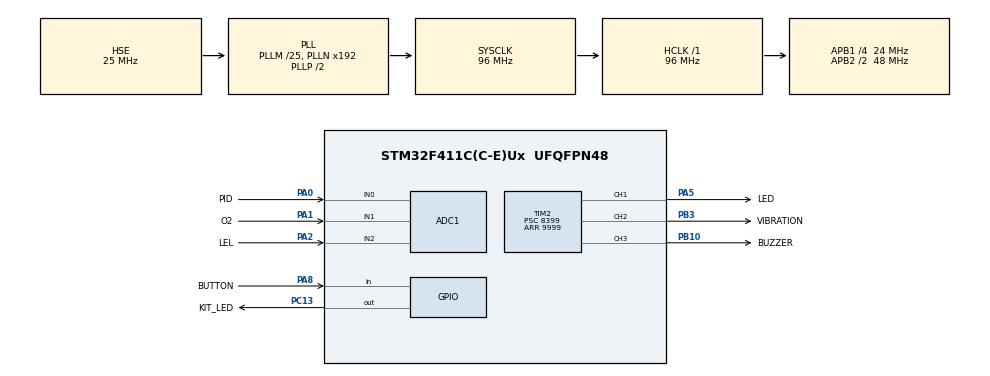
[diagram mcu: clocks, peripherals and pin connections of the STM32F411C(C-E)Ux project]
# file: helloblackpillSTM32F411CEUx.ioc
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ADC1.Channel-0\#ChannelRegularConversion=ADC_CHANNEL_0
ADC1.NbrOfConversionFlag=1
ADC1.Rank-0\#ChannelRegularConversion=1
ADC1.SamplingTime-0\#ChannelRegularConversion=ADC_SAMPLETIME_3CYCLES
ADC1.ScanConvMode=ENABLE
ADC1.master=1
Mcu.Family=STM32F4
Mcu.Name=STM32F411C(C-E)Ux
Mcu.Package=UFQFPN48
NVIC.PriorityGroup=NVIC_PRIORITYGROUP_4
NVIC.TIM2_IRQn=true\:0\:0\:false\:false\:true\:true\:true\:true
NVIC.TIM4_IRQn=true\:0\:0\:false\:false\:true\:true\:true\:true
PA0-WKUP.GPIO_Label=PID
PA0-WKUP.Signal=ADCx_IN0
PA1.GPIO_Label=O2
PA1.Signal=ADCx_IN1
PA13.Mode=Serial_Wire
PA13.Signal=SYS_JTMS-SWDIO
PA14.Mode=Serial_Wire
PA14.Signal=SYS_JTCK-SWCLK
PA2.GPIO_Label=LEL
PA2.Signal=ADCx_IN2
PA5.GPIO_Label=LED
PA5.Signal=S_TIM2_CH1_ETR
PA8.GPIO_Label=BUTTON
PA8.Signal=GPIO_Input
PB10.GPIO_Label=BUZZER
PB10.Signal=S_TIM2_CH3
PB3.GPIO_Label=VIBRATION
PB3.Signal=S_TIM2_CH2
PC13-ANTI_TAMP.GPIO_Label=KIT_LED
PC13-ANTI_TAMP.Signal=GPIO_Output
PC14-OSC32_IN.Mode=LSE-External-Oscillator
PC14-OSC32_IN.Signal=RCC_OSC32_IN
PC15-OSC32_OUT.Mode=LSE-External-Oscillator
PC15-OSC32_OUT.Signal=RCC_OSC32_OUT
PH0\ -\ OSC_IN.Mode=HSE-External-Oscillator
PH0\ -\ OSC_IN.Signal=RCC_OSC_IN
PH1\ -\ OSC_OUT.Mode=HSE-External-Oscillator
PH1\ -\ OSC_OUT.Signal=RCC_OSC_OUT
ProjectManager.HeapSize=0x200
ProjectManager.StackSize=0x400
ProjectManager.TargetToolchain=Makefile
RCC.48MHZClocksFreq_Value=48000000
RCC.AHBFreq_Value=96000000
RCC.APB1CLKDivider=RCC_HCLK_DIV4
RCC.APB1Freq_Value=24000000
RCC.APB1TimFreq_Value=48000000
RCC.APB2CLKDivider=RCC_HCLK_DIV2
RCC.APB2Freq_Value=48000000
RCC.APB2TimFreq_Value=96000000
RCC.CortexFreq_Value=96000000
RCC.HCLKFreq_Value=96000000
RCC.HSE_VALUE=25000000
RCC.HSI_VALUE=16000000
RCC.PLLM=25
RCC.PLLSourceVirtual=RCC_PLLSOURCE_HSE
RCC.SYSCLKFreq_VALUE=96000000
RCC.SYSCLKSource=RCC_SYSCLKSOURCE_PLLCLK
RCC.VCOOutputFreq_Value=192000000
SH.ADCx_IN0.0=ADC1_IN0,IN0
SH.ADCx_IN1.0=ADC1_IN1,IN1
SH.ADCx_IN2.0=ADC1_IN2,IN2
SH.S_TIM2_CH1_ETR.0=TIM2_CH1,PWM Generation1 CH1
SH.S_TIM2_CH2.0=TIM2_CH2,PWM Generation2 CH2
SH.S_TIM2_CH3.0=TIM2_CH3,PWM Generation3 CH3
TIM2.Channel-PWM\ Generation1\ CH1=TIM_CHANNEL_1
TIM2.Channel-PWM\ Generation2\ CH2=TIM_CHANNEL_2
TIM2.Channel-PWM\ Generation3\ CH3=TIM_CHANNEL_3
TIM2.Period=9999
TIM2.Prescaler=8399
TIM4.Period=1800
TIM4.Prescaler=7200
VP_TIM2_VS_ClockSourceINT.Mode=Internal
VP_TIM4_VS_ClockSourceINT.Mode=Internal
board=custom

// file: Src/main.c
/* USER CODE BEGIN Header */
/**
  ******************************************************************************
  * @file           : main.c
  * @brief          : Main program body
  ******************************************************************************
  * @attention
  *
  * Copyright (c) 2022 STMicroelectronics.
  * All rights reserved.
  *
  * This software is licensed under terms that can be found in the LICENSE file
  * in the root directory of this software component.
  * If no LICENSE file comes with this software, it is provided AS-IS.
  *
  ******************************************************************************
  */
/* USER CODE END Header */
#include "main.h"
#include <stdio.h>
#include <math.h>
#include <stdbool.h>
#include <stdarg.h>
#include <string.h>

/* USER CODE BEGIN PTD */
/* Estados do sistema */
typedef enum {
  STATE_IDLE,
  STATE_MONITORING,
  STATE_MENU,
  STATE_ALARM,
  STATE_INFO_1,
  STATE_INFO_2,
  STATE_CALIBRATION,
  STATE_ERROR
} SystemState;

SystemState currentState = STATE_IDLE;
/* USER CODE END PTD */

/* USER CODE BEGIN PD */
#define LED_ALARM_PIN GPIO_PIN_5
#define BUZZER_PIN GPIO_PIN_6
#define VIBRATION_PIN GPIO_PIN_7
#define BUTTON_FALL_PIN GPIO_PIN_8 // Botão para simular "homem caído"

/* USER CODE END PD */

ADC_HandleTypeDef hadc1;

TIM_HandleTypeDef htim2;
TIM_HandleTypeDef htim4;

/* USER CODE BEGIN PV */
float sensor_readings[3]; // Leituras dos potenciômetros simulando sensores
bool man_down_detected = false;
uint32_t inactivity_timer = 0;
float toxic_exposure_accumulated = 0.0f;
bool alarm_1 = false;
bool alarm_2 = false;
bool alarm_3 = false;
bool alarm_4 = false;

const float O2_MIN = 19.5;
const float O2_MAX = 23.5;
const float LEL_THRESHOLD = 10.0;
const float TOXIC_THRESHOLD = 20.0;
const float O2_ENV = 20.9;
/* USER CODE END PV */

void SystemClock_Config(void);
static void MX_GPIO_Init(void);
static void MX_ADC1_Init(void);
static void MX_TIM2_Init(void);
static void MX_TIM4_Init(void);

/* USER CODE BEGIN 0 */
bool CheckExplosionRisk(float lel);
bool CheckOxygenLevels(float o2);
bool CheckToxicGases(float toxic);
float CalculateExplosionRisk(float lel);
float CalculateOxygenDeficiency(float o2);
float CalculateToxicExposure(float concentration);
float CalculateCME(float lel, float o2);
float CorrectedTemperature(float reading, float temp);
float Read_ADC(uint32_t channel);
void HAL_TIM_PeriodElapsedCallback(TIM_HandleTypeDef *htim);
void PrintTerminal (const char* format, ...);
void MenuNavigation(void);
void StateMachine(void);
/* USER CODE END 0 */

int main(void)
{

  /* MCU Configuration--------------------------------------------------------*/

  /* Reset of all peripherals, Initializes the Flash interface and the Systick. */
  HAL_Init();

  /* Configure the system clock */
  SystemClock_Config();

  /* Initialize all configured peripherals */
  MX_GPIO_Init();
  MX_ADC1_Init();
  MX_TIM2_Init();
  MX_TIM4_Init();
  /* USER CODE BEGIN 2 */
  HAL_TIM_Base_Start_IT(&htim4);
  HAL_TIM_PWM_Start(&htim2, TIM_CHANNEL_1);
  HAL_TIM_PWM_Start(&htim2, TIM_CHANNEL_2);
  HAL_TIM_PWM_Start(&htim2, TIM_CHANNEL_3);
  PrintTerminal("Sistema Inicial - Aguardando...");
  /* USER CODE END 2 */
  /* Infinite loop */
  while (1)
  {
    StateMachine();
    HAL_Delay(100);

    // Leitura dos sensores simulados
    sensor_readings[0] = Read_ADC(0);
    sensor_readings[1] = Read_ADC(1);
    sensor_readings[2] = Read_ADC(2);

    if(HAL_GPIO_ReadPin(BUTTON_GPIO_Port, BUTTON_FALL_PIN) == 1) man_down_detected = true;
    else man_down_detected = false;
    }
}
void HAL_TIM_PeriodElapsedCallback(TIM_HandleTypeDef
  *htim){
  if(alarm_1==true) { htim2.Instance->CCR1 = (65535*sensor_readings[0])/100;}
  else{ htim2.Instance->CCR1 = 0; }

  if(alarm_2==true) { htim2.Instance->CCR2 = (65535*sensor_readings[1])/100;}
  else{ htim2.Instance->CCR2 = 0; }

  if(alarm_3==true) { htim2.Instance->CCR3 = (65535*sensor_readings[2])/100;}
  else { htim2.Instance->CCR3 = 0; }

  if(alarm_4==true){
    htim2.Instance->CCR1 = (65535*sensor_readings[0])/100;
    htim2.Instance->CCR2 = (65535*sensor_readings[1])/100;
    htim2.Instance->CCR3 = (65535*sensor_readings[2])/100;
  }
  else if(alarm_1==false && alarm_2==false && alarm_3==false){ htim2.Instance->CCR1 = 0; htim2.Instance->CCR2 = 0; htim2.Instance->CCR3 = 0;}
}

bool CheckExplosionRisk(float lel) {
  if(lel >= LEL_THRESHOLD) return true;
  else return false;
}

bool CheckOxygenLevels(float o2) {
  if((o2 < O2_MIN || o2 > O2_MAX)) return true;
  else return false;
}

bool CheckToxicGases(float toxic) {
  if(toxic >= TOXIC_THRESHOLD) return true;
  else return false;
}

// Modelos matemáticos
float CalculateExplosionRisk(float lel) {
  float r = (lel * LEL_THRESHOLD) / 100;
  return r;
}

float CalculateOxygenDeficiency(float o2) {
  float r = (o2 < O2_MIN) ? ((O2_MIN - o2) / O2_MIN) * 100 : 0;
  return r;
}

float CalculateToxicExposure(float concentration) {
  float r = (concentration / TOXIC_THRESHOLD) * 100;
  return r;
}

float CalculateCME(float lel, float o2) {
  float r = lel / (1.0 - (o2 / O2_ENV));
  return r;
}

float CorrectedTemperature(float reading, float temp) {
  float r = reading * (1.0 + 0.01 * (temp - 25.0));
  return r;
}

// Leitura de potenciômetros simulando sensores
float Read_ADC(uint32_t channel) {
  ADC_ChannelConfTypeDef sConfig = {0};
  sConfig.Channel = channel;
  sConfig.Rank = 1;
  sConfig.SamplingTime = ADC_SAMPLETIME_3CYCLES;
  if (HAL_ADC_ConfigChannel(&hadc1, &sConfig) != HAL_OK) {
    return -1.0f; // Retorna um valor inválido caso a configuração falhe
  }

  HAL_ADC_Start(&hadc1);
  HAL_ADC_PollForConversion(&hadc1, 100);

  float r = (float)HAL_ADC_GetValue(&hadc1) * (3.3/4095)*(100/3.3);
  return r;
}

void PrintTerminal(const char* format, ...) {
  char buffer[128]; // Buffer temporário para armazenar a string formatada
  va_list args;
  va_start(args, format);
  vsnprintf(buffer, sizeof(buffer), format, args);
  va_end(args);

  strcat(buffer, "\r\n"); // Adiciona retorno de carro para terminais compatíveis
  //HAL_UART_Transmit(&huart2, (uint8_t*)buffer, strlen(buffer), HAL_MAX_DELAY);
}

void StateMachine(void) {
  switch (currentState) {
      case STATE_IDLE:
          PrintTerminal("Estado: IDLE - Pressione um botão para iniciar");
          if (1) {
            HAL_Delay(50); // Debounce do botão
            if (1) {
                currentState = STATE_MONITORING;
            }
        }
        break;

      case STATE_MONITORING:
        if (CheckToxicGases(sensor_readings[0]) == true) {
          PrintTerminal("ALERTA: Condição perigosa detectada!");
          currentState = STATE_ALARM; alarm_1 = true;
        } else { alarm_1 = false; }

        if (CheckOxygenLevels(sensor_readings[1]) == true) {
          PrintTerminal("ALERTA: Condição perigosa detectada!");
          currentState = STATE_ALARM; alarm_2 = true;
        } else { alarm_2 = false; }

        if (CheckExplosionRisk(sensor_readings[2]) == true) {
          PrintTerminal("ALERTA: Condição perigosa detectada!");
          currentState = STATE_ALARM; alarm_3 = true;
        } else { alarm_3 = false; }

        if (man_down_detected == true) {
        PrintTerminal("ALERTA: Condição perigosa detectada!");
        currentState = STATE_ALARM; alarm_4 = true;
        } else { alarm_4 = false; }
        break;

      case STATE_ALARM:
          PrintTerminal("Estado: ALARME! Verifique os sensores.");
          currentState = STATE_MONITORING;
          break;
      case STATE_INFO_1:
        // Impessão incluindo temperatura
        //PrintTerminal("O2: %.1f%%, LEL: %.1f%%, Tóxicos: %.1f%%, Temperatura: %.1f%% \n", sensor_readings[1], sensor_readings[2], sensor_readings[0], CorrectedTemperature(reading, temp));
        // Impressão das leituras no terminal
        PrintTerminal("O2: %.1f%%, LEL: %.1f%%, Tóxicos: %.1f%% \n", sensor_readings[1], sensor_readings[2], sensor_readings[0]);
        break;
      case STATE_INFO_2:
      PrintTerminal("O2_DEF: %.1f%%, CME: %.1f%%, TOX_EXP: %.1f%% \n", CalculateOxygenDeficiency(sensor_readings[1]), CalculateCME(sensor_readings[1],sensor_readings[2]), CalculateToxicExposure(sensor_readings[0]));
      break;

      default:
          PrintTerminal("Erro! Reinicie o sistema.");
          break;
  }
}

void SystemClock_Config(void)
{
  RCC_OscInitTypeDef RCC_OscInitStruct = {0};
  RCC_ClkInitTypeDef RCC_ClkInitStruct = {0};

  /** Configure the main internal regulator output voltage
  */
  __HAL_RCC_PWR_CLK_ENABLE();
  __HAL_PWR_VOLTAGESCALING_CONFIG(PWR_REGULATOR_VOLTAGE_SCALE1);

  /** Initializes the RCC Oscillators according to the specified parameters
  * in the RCC_OscInitTypeDef structure.
  */
  RCC_OscInitStruct.OscillatorType = RCC_OSCILLATORTYPE_HSE;
  RCC_OscInitStruct.HSEState = RCC_HSE_ON;
  RCC_OscInitStruct.PLL.PLLState = RCC_PLL_ON;
  RCC_OscInitStruct.PLL.PLLSource = RCC_PLLSOURCE_HSE;
  RCC_OscInitStruct.PLL.PLLM = 25;
  RCC_OscInitStruct.PLL.PLLN = 192;
  RCC_OscInitStruct.PLL.PLLP = RCC_PLLP_DIV2;
  RCC_OscInitStruct.PLL.PLLQ = 4;
  if (HAL_RCC_OscConfig(&RCC_OscInitStruct) != HAL_OK)
  {
    Error_Handler();
  }

  /** Initializes the CPU, AHB and APB buses clocks
  */
  RCC_ClkInitStruct.ClockType = RCC_CLOCKTYPE_HCLK|RCC_CLOCKTYPE_SYSCLK
                              |RCC_CLOCKTYPE_PCLK1|RCC_CLOCKTYPE_PCLK2;
  RCC_ClkInitStruct.SYSCLKSource = RCC_SYSCLKSOURCE_PLLCLK;
  RCC_ClkInitStruct.AHBCLKDivider = RCC_SYSCLK_DIV1;
  RCC_ClkInitStruct.APB1CLKDivider = RCC_HCLK_DIV4;
  RCC_ClkInitStruct.APB2CLKDivider = RCC_HCLK_DIV2;

  if (HAL_RCC_ClockConfig(&RCC_ClkInitStruct, FLASH_LATENCY_3) != HAL_OK)
  {
    Error_Handler();
  }
}

static void MX_ADC1_Init(void)
{

  ADC_ChannelConfTypeDef sConfig = {0};

  /** Configure the global features of the ADC (Clock, Resolution, Data Alignment and number of conversion)
  */
  hadc1.Instance = ADC1;
  hadc1.Init.ClockPrescaler = ADC_CLOCK_SYNC_PCLK_DIV2;
  hadc1.Init.Resolution = ADC_RESOLUTION_12B;
  hadc1.Init.ScanConvMode = ENABLE;
  hadc1.Init.ContinuousConvMode = DISABLE;
  hadc1.Init.DiscontinuousConvMode = DISABLE;
  hadc1.Init.ExternalTrigConvEdge = ADC_EXTERNALTRIGCONVEDGE_NONE;
  hadc1.Init.ExternalTrigConv = ADC_SOFTWARE_START;
  hadc1.Init.DataAlign = ADC_DATAALIGN_RIGHT;
  hadc1.Init.NbrOfConversion = 1;
  hadc1.Init.DMAContinuousRequests = DISABLE;
  hadc1.Init.EOCSelection = ADC_EOC_SINGLE_CONV;
  if (HAL_ADC_Init(&hadc1) != HAL_OK)
  {
    Error_Handler();
  }

  /** Configure for the selected ADC regular channel its corresponding rank in the sequencer and its sample time.
  */
  sConfig.Channel = ADC_CHANNEL_0;
  sConfig.Rank = 1;
  sConfig.SamplingTime = ADC_SAMPLETIME_3CYCLES;
  if (HAL_ADC_ConfigChannel(&hadc1, &sConfig) != HAL_OK)
  {
    Error_Handler();
  }

}

static void MX_TIM2_Init(void)
{

  TIM_ClockConfigTypeDef sClockSourceConfig = {0};
  TIM_MasterConfigTypeDef sMasterConfig = {0};
  TIM_OC_InitTypeDef sConfigOC = {0};

  htim2.Instance = TIM2;
  htim2.Init.Prescaler = 0;
  htim2.Init.CounterMode = TIM_COUNTERMODE_UP;
  htim2.Init.Period = 65535;
  htim2.Init.ClockDivision = TIM_CLOCKDIVISION_DIV1;
  htim2.Init.AutoReloadPreload = TIM_AUTORELOAD_PRELOAD_DISABLE;
  if (HAL_TIM_Base_Init(&htim2) != HAL_OK)
  {
    Error_Handler();
  }
  sClockSourceConfig.ClockSource = TIM_CLOCKSOURCE_INTERNAL;
  if (HAL_TIM_ConfigClockSource(&htim2, &sClockSourceConfig) != HAL_OK)
  {
    Error_Handler();
  }
  if (HAL_TIM_PWM_Init(&htim2) != HAL_OK)
  {
    Error_Handler();
  }
  if (HAL_TIM_OC_Init(&htim2) != HAL_OK)
  {
    Error_Handler();
  }
  sMasterConfig.MasterOutputTrigger = TIM_TRGO_RESET;
  sMasterConfig.MasterSlaveMode = TIM_MASTERSLAVEMODE_DISABLE;
  if (HAL_TIMEx_MasterConfigSynchronization(&htim2, &sMasterConfig) != HAL_OK)
  {
    Error_Handler();
  }
  sConfigOC.OCMode = TIM_OCMODE_PWM1;
  sConfigOC.Pulse = 0;
  sConfigOC.OCPolarity = TIM_OCPOLARITY_HIGH;
  sConfigOC.OCFastMode = TIM_OCFAST_DISABLE;
  if (HAL_TIM_PWM_ConfigChannel(&htim2, &sConfigOC, TIM_CHANNEL_1) != HAL_OK)
  {
    Error_Handler();
  }
  if (HAL_TIM_PWM_ConfigChannel(&htim2, &sConfigOC, TIM_CHANNEL_2) != HAL_OK)
  {
    Error_Handler();
  }
  if (HAL_TIM_OC_ConfigChannel(&htim2, &sConfigOC, TIM_CHANNEL_3) != HAL_OK)
  {
    Error_Handler();
  }
  HAL_TIM_MspPostInit(&htim2);

}

static void MX_TIM4_Init(void)
{

  TIM_ClockConfigTypeDef sClockSourceConfig = {0};
  TIM_MasterConfigTypeDef sMasterConfig = {0};

  htim4.Instance = TIM4;
  htim4.Init.Prescaler = 7200;
  htim4.Init.CounterMode = TIM_COUNTERMODE_UP;
  htim4.Init.Period = 1800;
  htim4.Init.ClockDivision = TIM_CLOCKDIVISION_DIV1;
  htim4.Init.AutoReloadPreload = TIM_AUTORELOAD_PRELOAD_DISABLE;
  if (HAL_TIM_Base_Init(&htim4) != HAL_OK)
  {
    Error_Handler();
  }
  sClockSourceConfig.ClockSource = TIM_CLOCKSOURCE_INTERNAL;
  if (HAL_TIM_ConfigClockSource(&htim4, &sClockSourceConfig) != HAL_OK)
  {
    Error_Handler();
  }
  sMasterConfig.MasterOutputTrigger = TIM_TRGO_RESET;
  sMasterConfig.MasterSlaveMode = TIM_MASTERSLAVEMODE_DISABLE;
  if (HAL_TIMEx_MasterConfigSynchronization(&htim4, &sMasterConfig) != HAL_OK)
  {
    Error_Handler();
  }

}

static void MX_GPIO_Init(void)
{
  GPIO_InitTypeDef GPIO_InitStruct = {0};

  /* GPIO Ports Clock Enable */
  __HAL_RCC_GPIOC_CLK_ENABLE();
  __HAL_RCC_GPIOH_CLK_ENABLE();
  __HAL_RCC_GPIOA_CLK_ENABLE();
  __HAL_RCC_GPIOB_CLK_ENABLE();

  /*Configure GPIO pin Output Level */
  HAL_GPIO_WritePin(KIT_LED_GPIO_Port, KIT_LED_Pin, GPIO_PIN_RESET);

  /*Configure GPIO pin : KIT_LED_Pin */
  GPIO_InitStruct.Pin = KIT_LED_Pin;
  GPIO_InitStruct.Mode = GPIO_MODE_OUTPUT_PP;
  GPIO_InitStruct.Pull = GPIO_NOPULL;
  GPIO_InitStruct.Speed = GPIO_SPEED_FREQ_LOW;
  HAL_GPIO_Init(KIT_LED_GPIO_Port, &GPIO_InitStruct);

  /*Configure GPIO pin : BUTTON_Pin */
  GPIO_InitStruct.Pin = BUTTON_Pin;
  GPIO_InitStruct.Mode = GPIO_MODE_INPUT;
  GPIO_InitStruct.Pull = GPIO_NOPULL;
  HAL_GPIO_Init(BUTTON_GPIO_Port, &GPIO_InitStruct);

}

void Error_Handler(void)
{
  __disable_irq();
  while (1)
  {
  }
}
